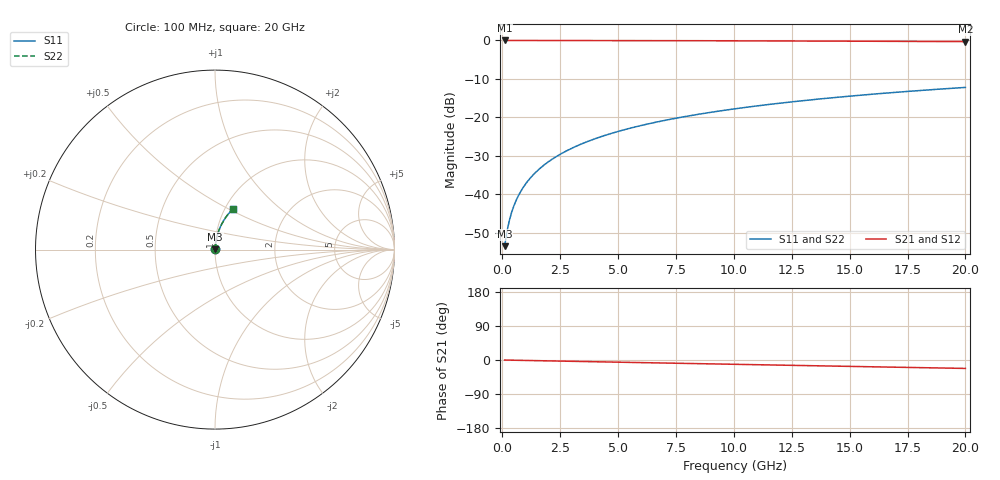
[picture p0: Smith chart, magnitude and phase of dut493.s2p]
! Touchstone file exported from HFSS 2026.1.0
!  File:  C:/ffzhzh/LocalFiles/Ansys_Project_Files/temp_train_TMRDL_493_1783006610_51716.aedt
!  Generated:  11:38:11 PM Jul  2, 2026
!  Design:  TMRDL
!  Project:  temp_train_TMRDL_493_1783006610_51716
! Variables:
!  h_bsmrdl = 2um
!  h_ox = 20um
!  h_rdl = 5um
!  h_sub = 80um
!  h_tmrdl = 3.12um
!  h_tsv = 80um
!  h_via = 3um
!  l_bsmrdl = 300um
!  l_sub = 661.58um
!  l_tmrdl = 261.58um
!  m_sub = 200um
!  pitch = 56.25um
!  r_tsv = 6um
!  s_tmrdl = 10um
!  w_bsmrdl = 18um
!  w_sub = 500um
!  w_tmrdl = 22.69um
!  x_tsv_center1 = 272.925um
!  x_tsv_center2 = 590.925um
!  x_tsv_center3 = 875.195um
!  x_tsv_center4 = 1193.195um
!  x_tsv_center5 = 1477.465um
!  x_tsv_center6 = 1795.465um
# GHz S MA R 50.000000
! Terminal data exported
! Port[1] = TM_RDL1_1_T1
! Port[2] = TM_RDL1_1_T2
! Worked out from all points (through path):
!   200 points, 100 MHz to 20 GHz, reference 50 ohm
!   highest |S21| = -0.01 dB at 100 MHz (marker M1); lowest = -0.3 dB at 20 GHz (marker M2)
!   group delay of S21, straight-line fit = 3.09 ps
!   lowest |S11| = -53.5 dB at 100 MHz (marker M3), VSWR 1.00, Z = 50.2 + j0.141 ohm
!   |S11| at or under -10 dB: start of sweep to end of sweep
!   |S22| runs from -53.5 to -12.2 dB; largest |S21 - S12| = 3.2e-15
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0.1  0.002103 42.1  0.9984 -0.1  0.9984 -0.1  0.002103 42.1
! Gamma 0 0 0 0
! Port Impedance 50 0 50 0
0.2  0.003232 59.8  0.9984 -0.2  0.9984 -0.2  0.003232 59.8
0.3  0.004483 67.7  0.9983 -0.4  0.9983 -0.4  0.004484 67.7
0.4  0.005758 71.9  0.9982 -0.5  0.9982 -0.5  0.005758 71.9
0.5  0.007036 74.6  0.9982 -0.6  0.9982 -0.6  0.007036 74.6
0.6  0.008316 76.5  0.9981 -0.7  0.9981 -0.7  0.008316 76.5
0.8  0.01089 79.0  0.998 -0.9  0.998 -0.9  0.01089 79.0
1.1  0.01476 81.1  0.9979 -1.3  0.9979 -1.3  0.01476 81.1
1.5  0.01996 82.5  0.9978 -1.7  0.9978 -1.7  0.01996 82.5
1.8  0.02386 83.0  0.9977 -2.1  0.9977 -2.1  0.02386 83.0
2.1  0.02777 83.2  0.9975 -2.4  0.9975 -2.4  0.02777 83.2
2.7  0.0356 83.4  0.9972 -3.1  0.9972 -3.1  0.0356 83.4
3.5  0.046 83.1  0.9966 -4.0  0.9966 -4.0  0.046 83.1
4.2  0.05507 82.6  0.996 -4.8  0.996 -4.8  0.05507 82.6
5  0.06539 81.9  0.9952 -5.7  0.9952 -5.7  0.06539 81.9
5.9  0.07692 81.1  0.9942 -6.8  0.9942 -6.8  0.07692 81.1
6.8  0.08837 80.2  0.993 -7.8  0.993 -7.8  0.08837 80.2
8.3  0.1072 78.7  0.9907 -9.5  0.9907 -9.5  0.1072 78.6
10.1  0.1295 76.8  0.9876 -11.5  0.9876 -11.5  0.1295 76.8
13.4  0.1694 73.3  0.9809 -15.1  0.9809 -15.1  0.1694 73.3
16.7  0.2078 69.9  0.9729 -18.7  0.9729 -18.7  0.2078 69.8
20  0.2446 66.5  0.9639 -22.2  0.9639 -22.2  0.2446 66.4
